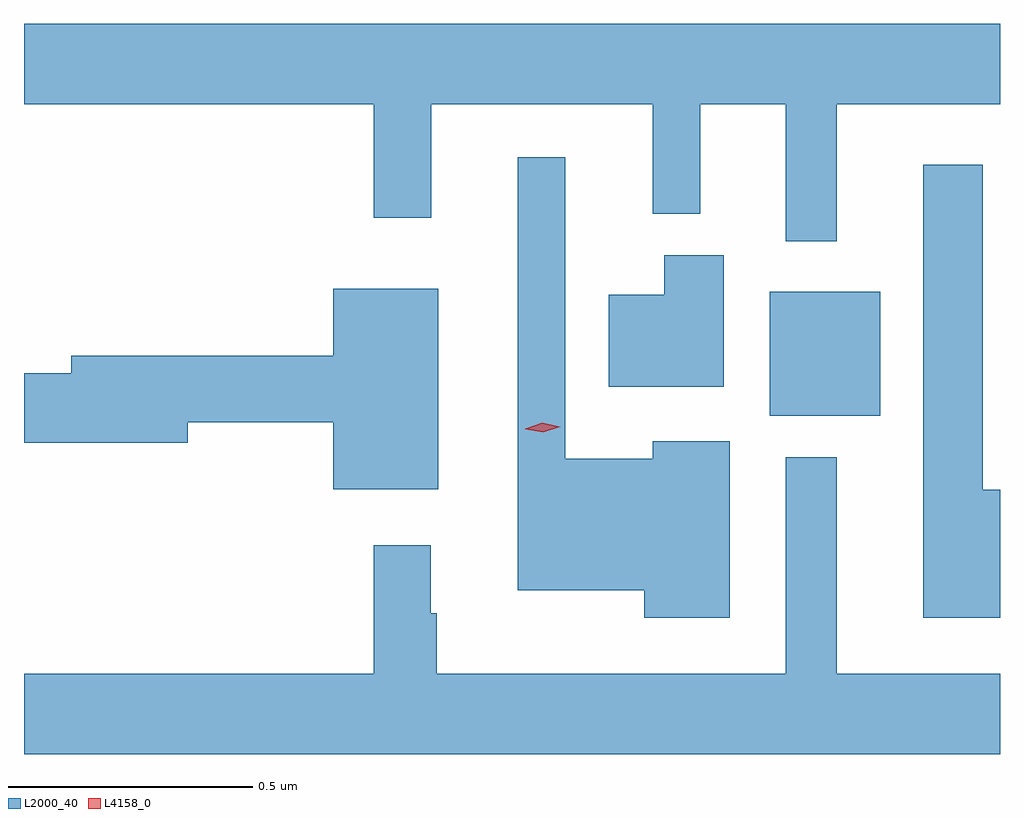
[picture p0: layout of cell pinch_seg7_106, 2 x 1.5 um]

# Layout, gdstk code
import gdstk
lib = gdstk.Library(unit=1e-6, precision=1e-09)
def R(c, l, rs):  # rectangles x0, y0, x1, y1
    for r in rs: c.add(gdstk.rectangle(r[:2], r[2:], *l))
def P(c, l, *ps):  # polygons
    for p in ps: c.add(gdstk.Polygon(p, *l))
L2000_40 = (2000, 40)
L4158_0 = (4158, 0)

pinch_seg7_106 = lib.new_cell('pinch_seg7_106')
R(pinch_seg7_106, L2000_40, [(934.37,1018.625,934.597,1018.879)])
P(pinch_seg7_106, L2000_40, [(934.507,1019.264),(934.842,1019.264),(934.842,1019.428),(932.842,1019.428),(932.842,1019.264),(933.559,1019.264),(933.559,1019.031),(933.677,1019.031),(933.677,1019.264),(934.13,1019.264),(934.13,1019.039),(934.228,1019.039),(934.228,1019.264),(934.403,1019.264),(934.403,1018.983),(934.507,1018.983)],
  [(934.288,1018.573),(934.13,1018.573),(934.13,1018.537),(933.951,1018.537),(933.951,1019.155),(933.854,1019.155),(933.854,1018.268),(934.113,1018.268),(934.113,1018.211),(934.288,1018.211)],
  [(934.842,1018.474),(934.807,1018.474),(934.807,1019.14),(934.685,1019.14),(934.685,1018.211),(934.842,1018.211)],
  [(934.276,1018.954),(934.154,1018.954),(934.154,1018.873),(934.04,1018.873),(934.04,1018.685),(934.276,1018.685)],
  [(933.691,1018.885),(933.476,1018.885),(933.476,1018.748),(932.939,1018.748),(932.939,1018.712),(932.842,1018.712),(932.842,1018.57),(933.178,1018.57),(933.178,1018.612),(933.476,1018.612),(933.476,1018.475),(933.691,1018.475)],
  [(934.842,1018.096),(934.507,1018.096),(934.507,1018.54),(934.403,1018.54),(934.403,1018.096),(933.688,1018.096),(933.688,1018.22),(933.676,1018.22),(933.676,1018.36),(933.559,1018.36),(933.559,1018.096),(932.842,1018.096),(932.842,1017.932),(934.842,1017.932)])
P(pinch_seg7_106, L4158_0, [(933.906,1018.591),(933.869,1018.598),(933.869,1018.599),(933.869,1018.599),(933.904,1018.611),(933.941,1018.603),(933.941,1018.603),(933.941,1018.603)])

lib.write_gds('pinch_seg7_106.gds')
